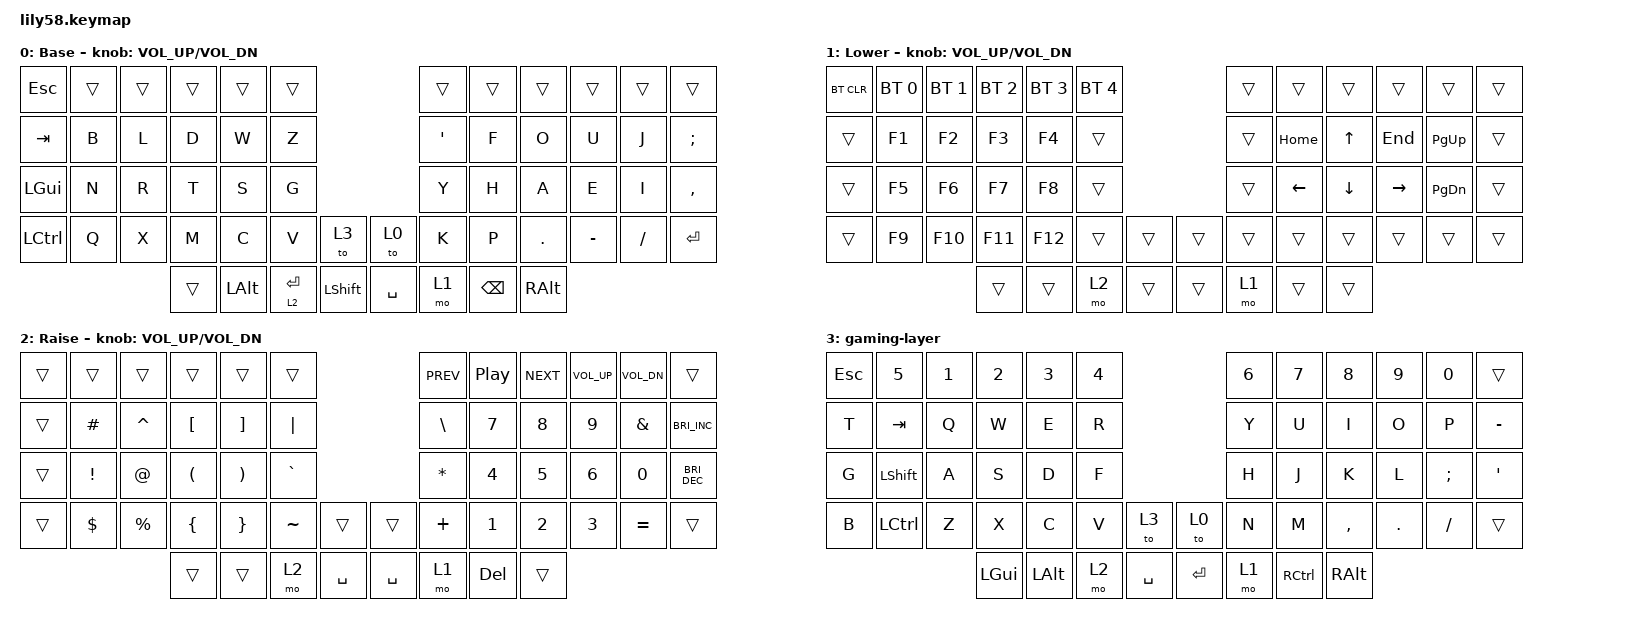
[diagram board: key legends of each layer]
/*
 * Copyright (c) 2020 The ZMK Contributors
 *
 * SPDX-License-Identifier: MIT
 */

#include <behaviors.dtsi>
#include <dt-bindings/zmk/bt.h>
#include <dt-bindings/zmk/keys.h>

/ {
    combos {
        compatible = "zmk,combos";

        Clear {
            bindings = <&bt BT_CLR_ALL>;
            key-positions = <0 36 11 49>;
        };

        plebs {
            bindings = <&to 0>;
            key-positions = <10 48 1 37>;
        };

        based {
            bindings = <&to 0>;
            key-positions = <41 6 44 5>;
        };

        LeftShift {
            bindings = <&kp LEFT_SHIFT>;
            key-positions = <53 27>;
            layers = <0>;
        };

        RightShift {
            bindings = <&kp RIGHT_SHIFT>;
            key-positions = <54 32>;
            layers = <0>;
        };

        LeftControl {
            bindings = <&kp LEFT_CONTROL>;
            key-positions = <53 28>;
            layers = <0>;
        };

        RightControl {
            bindings = <&kp RIGHT_CONTROL>;
            key-positions = <54 31>;
            layers = <0>;
        };

        LeftAlt {
            bindings = <&kp LEFT_ALT>;
            key-positions = <53 26>;
            layers = <0>;
        };

        RightAlt {
            bindings = <&kp RIGHT_ALT>;
            key-positions = <54 33>;
            layers = <0>;
        };

        RightSuper {
            bindings = <&kp RGUI>;
            key-positions = <54 34>;
            layers = <0>;
        };

        LeftSuper {
            bindings = <&kp LGUI>;
            key-positions = <53 25>;
            layers = <0>;
        };
    };

    keymap {
        compatible = "zmk,keymap";

        default_layer {
            // ------------------------------------------------------------------------------------------------------------
            // |  ESC  |  1  |  2  |  3   |  4   |  5   |                   |  6   |  7    |  8    |  9   |   0   |   `   |
            // |  TAB  |  Q  |  W  |  E   |  R   |  T   |                   |  Y   |  U    |  I    |  O   |   P   |   -   |
            // |  CTRL |  A  |  S  |  D   |  F   |  G   |                   |  H   |  J    |  K    |  L   |   ;   |   '   |
            // | SHIFT |  Z  |  X  |  C   |  V   |  B   |   "["  |  |  "]"  |  N   |  M    |  ,    |  .   |   /   | SHIFT |
            //                     | ALT  | GUI  | LOWER|  SPACE |  | ENTER | RAISE| BSPC  | GUI   |

            display-name = "Base";
            bindings = <
&kp ESC       &trans  &trans  &trans  &trans        &trans                                    &trans          &trans    &trans         &trans     &trans    &trans
&kp TAB       &kp B   &kp L   &kp D   &kp W         &kp Z                                     &kp APOSTROPHE  &kp F     &kp O          &kp U      &kp J     &kp SEMI
&kp LEFT_GUI  &kp N   &kp R   &kp T   &kp S         &kp G                                     &kp Y           &kp H     &kp A          &kp E      &kp I     &kp COMMA
&kp LCTRL     &kp Q   &kp X   &kp M   &kp C         &kp V        &to 3             &to 0      &kp K           &kp P     &kp DOT        &kp MINUS  &kp FSLH  &kp ENTER
                              &trans  &kp LEFT_ALT  &lt 2 ENTER  &kp LEFT_SHIFT    &kp SPACE  &mo 1           &kp BSPC  &kp RIGHT_ALT
            >;

            sensor-bindings = <&inc_dec_kp C_VOL_UP C_VOL_DN>;
        };

        lower_layer {
            // ------------------------------------------------------------------------------------------------------------
            // | BTCLR | BT1 | BT2 |  BT3 |  BT4 |  BT5 |                   |      |       |       |      |       |       |
            // |  F1   |  F2 |  F3 |  F4  |  F5  |  F6  |                   |  F7  |  F8   |  F9   |  F10 |  F11  |  F12  |
            // |   `   |  !  |  @  |  #   |  $   |  %   |                   |  ^   |  &    |  *    |  (   |   )   |   ~   |
            // |       |     |     |      |      |      |        |  |       |      |  _    |  +    |  {   |   }   |  "|"  |
            //                     |      |      |      |        |  |       |      |       |       |

            display-name = "Lower";
            bindings = <
&bt BT_CLR  &bt BT_SEL 0  &bt BT_SEL 1  &bt BT_SEL 2  &bt BT_SEL 3  &bt BT_SEL 4                    &trans  &trans          &trans          &trans           &trans         &trans
&trans      &kp F1        &kp F2        &kp F3        &kp F4        &trans                          &trans  &kp HOME        &kp UP_ARROW    &kp END          &kp PAGE_UP    &trans
&trans      &kp F5        &kp F6        &kp F7        &kp F8        &trans                          &trans  &kp LEFT_ARROW  &kp DOWN_ARROW  &kp RIGHT_ARROW  &kp PAGE_DOWN  &trans
&trans      &kp F9        &kp F10       &kp F11       &kp F12       &trans        &trans    &trans  &trans  &trans          &trans          &trans           &trans         &trans
                                        &trans        &trans        &mo 2         &trans    &trans  &mo 1   &trans          &trans
            >;

            sensor-bindings = <&inc_dec_kp C_VOL_UP C_VOL_DN>;
        };

        raise_layer {
            // ------------------------------------------------------------------------------------------------------------
            // |       |     |     |      |      |      |                   |      |       |       |      |       |       |
            // |   `   |  1  |  2  |  3   |  4   |  5   |                   |  6   |   7   |   8   |  9   |   0   |       |
            // |   F1  |  F2 |  F3 |  F4  |  F5  |  F6  |                   |      |   <-  |   v   |  ^   |  ->   |       |
            // |   F7  |  F8 |  F9 |  F10 |  F11 |  F12 |        |  |       |  +   |   -   |   =   |  [   |   ]   |   \   |
            //                     |      |      |      |        |  |       |      |       |       |

            display-name = "Raise";
            bindings = <
&trans  &trans           &trans       &trans                &trans                 &trans                             &kp C_PREV     &kp C_PP    &kp C_NEXT  &kp C_VOL_UP  &kp C_VOL_DN   &trans
&trans  &kp HASH         &kp CARET    &kp LBKT              &kp RBKT               &kp PIPE                           &kp BACKSLASH  &kp N7      &kp N8      &kp N9        &kp AMPERSAND  &kp C_BRIGHTNESS_INC
&trans  &kp EXCLAMATION  &kp AT       &kp LEFT_PARENTHESIS  &kp RIGHT_PARENTHESIS  &kp GRAVE                          &kp ASTERISK   &kp N4      &kp N5      &kp N6        &kp N0         &kp C_BRIGHTNESS_DEC
&trans  &kp DOLLAR       &kp PERCENT  &kp LEFT_BRACE        &kp RIGHT_BRACE        &kp TILDE  &trans       &trans     &kp PLUS       &kp N1      &kp N2      &kp N3        &kp EQUAL      &trans
                                      &trans                &trans                 &mo 2      &kp SPACE    &kp SPACE  &mo 1          &kp DELETE  &trans
            >;

            sensor-bindings = <&inc_dec_kp C_VOL_UP C_VOL_DN>;
        };

        gaming-layer {
            bindings = <
&kp ESC  &kp N5     &kp N1  &kp N2        &kp N3        &kp N4                          &kp N6  &kp N7             &kp N8         &kp N9   &kp N0    &trans
&kp T    &kp TAB    &kp Q   &kp W         &kp E         &kp R                           &kp Y   &kp U              &kp I          &kp O    &kp P     &kp MINUS
&kp G    &kp LSHFT  &kp A   &kp S         &kp D         &kp F                           &kp H   &kp J              &kp K          &kp L    &kp SEMI  &kp APOS
&kp B    &kp LCTRL  &kp Z   &kp X         &kp C         &kp V   &to 3        &to 0      &kp N   &kp M              &kp COMMA      &kp DOT  &kp FSLH  &trans
                            &kp LEFT_GUI  &kp LEFT_ALT  &mo 2   &kp SPACE    &kp ENTER  &mo 1   &kp RIGHT_CONTROL  &kp RIGHT_ALT
            >;
        };
    };
};
